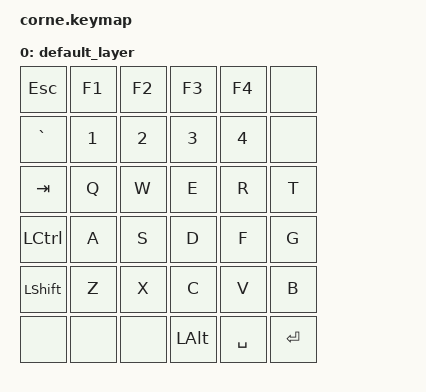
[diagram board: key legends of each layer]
/*
 * Copyright (c) 2020 The ZMK Contributors
 *
 * SPDX-License-Identifier: MIT
 */

#include <behaviors.dtsi>
#include <dt-bindings/zmk/keys.h>
#include <dt-bindings/zmk/bt.h>
#include <dt-bindings/zmk/outputs.h>
#include <dt-bindings/zmk/ext_power.h>
#include <dt-bindings/zmk/reset.h>

/ {
    keymap {
        compatible = "zmk,keymap";

        default_layer {
            bindings = <
                &kp ESC    &kp F1     &kp F2     &kp F3     &kp F4     &none
                &kp GRAVE  &kp N1     &kp N2     &kp N3     &kp N4     &none
                &kp TAB    &kp Q      &kp W      &kp E      &kp R      &kp T
                &kp LCTRL  &kp A      &kp S      &kp D      &kp F      &kp G
                &kp LSHFT  &kp Z      &kp X      &kp C      &kp V      &kp B
                &none      &none      &none      &kp LALT   &kp SPACE  &kp ENTER
            >;
        };
    };
};
